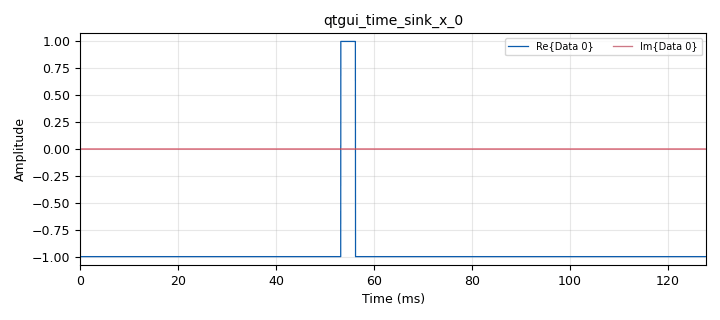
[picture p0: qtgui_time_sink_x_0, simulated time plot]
<?xml version='1.0' encoding='utf-8'?>
<?grc format='1' created='3.7.13'?>
<flow_graph>
<block>
<key>options</key>
<param><key>id</key><value>aep_example</value></param>
<param><key>generate_options</key><value>qt_gui</value></param>
</block>
<block>
<key>variable</key>
<param><key>id</key><value>samp_rate</value></param>
<param><key>value</key><value>32000</value></param>
</block>
<block>
<key>blocks_vector_source_x</key>
<param><key>id</key><value>blocks_vector_source_x_0</value></param>
<param><key>type</key><value>complex</value></param>
<param><key>repeat</key><value>True</value></param>
<param><key>vector</key><value>[-1]*1000 + [1]*96 + [-1]*3000</value></param>
</block>
<block>
<key>import</key>
<param><key>id</key><value>import_numpy</value></param>
<param><key>import</key><value>import numpy as np</value></param>
</block>
<block>
<key>qtgui_time_sink_x</key>
<param><key>id</key><value>qtgui_time_sink_x_0</value></param>
<param><key>color1</key><value>"blue"</value></param>
<param><key>label1</key><value></value></param>
<param><key>color2</key><value>"red"</value></param>
<param><key>label2</key><value></value></param>
<param><key>size</key><value>4096</value></param>
<param><key>srate</key><value>samp_rate</value></param>
<param><key>type</key><value>complex</value></param>
</block>
<connection><source_block_id>blocks_vector_source_x_0</source_block_id><sink_block_id>qtgui_time_sink_x_0</sink_block_id><source_key>0</source_key><sink_key>0</sink_key></connection>
</flow_graph>
